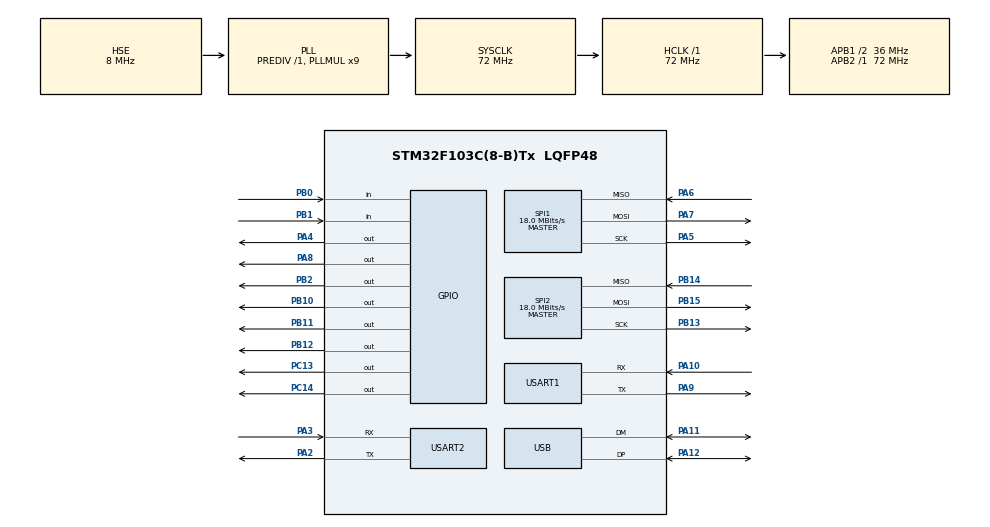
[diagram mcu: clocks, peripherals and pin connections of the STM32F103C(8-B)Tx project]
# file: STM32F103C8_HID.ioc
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Dma.MEMTOMEM.0.Direction=DMA_MEMORY_TO_MEMORY
Dma.MEMTOMEM.0.Instance=DMA1_Channel1
Dma.MEMTOMEM.0.MemDataAlignment=DMA_MDATAALIGN_BYTE
Dma.MEMTOMEM.0.MemInc=DMA_MINC_ENABLE
Dma.MEMTOMEM.0.Mode=DMA_NORMAL
Dma.MEMTOMEM.0.PeriphDataAlignment=DMA_PDATAALIGN_BYTE
Dma.MEMTOMEM.0.PeriphInc=DMA_PINC_ENABLE
Dma.MEMTOMEM.0.Priority=DMA_PRIORITY_LOW
Dma.Request0=MEMTOMEM
Dma.Request1=SPI1_TX
Dma.Request2=SPI1_RX
Dma.Request3=USART2_RX
Dma.Request4=USART2_TX
Dma.Request5=USART1_TX
Dma.Request6=USART1_RX
Dma.SPI1_RX.2.Direction=DMA_PERIPH_TO_MEMORY
Dma.SPI1_RX.2.Instance=DMA1_Channel2
Dma.SPI1_RX.2.MemDataAlignment=DMA_MDATAALIGN_BYTE
Dma.SPI1_RX.2.MemInc=DMA_MINC_ENABLE
Dma.SPI1_RX.2.Mode=DMA_NORMAL
Dma.SPI1_RX.2.PeriphDataAlignment=DMA_PDATAALIGN_BYTE
Dma.SPI1_RX.2.PeriphInc=DMA_PINC_DISABLE
Dma.SPI1_RX.2.Priority=DMA_PRIORITY_LOW
Dma.SPI1_TX.1.Direction=DMA_MEMORY_TO_PERIPH
Dma.SPI1_TX.1.Instance=DMA1_Channel3
Dma.SPI1_TX.1.MemDataAlignment=DMA_MDATAALIGN_BYTE
Dma.SPI1_TX.1.MemInc=DMA_MINC_ENABLE
Dma.SPI1_TX.1.Mode=DMA_NORMAL
Dma.SPI1_TX.1.PeriphDataAlignment=DMA_PDATAALIGN_BYTE
Dma.SPI1_TX.1.PeriphInc=DMA_PINC_DISABLE
Dma.SPI1_TX.1.Priority=DMA_PRIORITY_LOW
Dma.USART1_RX.6.Direction=DMA_PERIPH_TO_MEMORY
Dma.USART1_RX.6.Instance=DMA1_Channel5
Dma.USART1_RX.6.MemDataAlignment=DMA_MDATAALIGN_BYTE
Dma.USART1_RX.6.MemInc=DMA_MINC_ENABLE
Dma.USART1_RX.6.Mode=DMA_CIRCULAR
Dma.USART1_RX.6.PeriphDataAlignment=DMA_PDATAALIGN_BYTE
Dma.USART1_RX.6.PeriphInc=DMA_PINC_DISABLE
Dma.USART1_RX.6.Priority=DMA_PRIORITY_LOW
Dma.USART1_TX.5.Direction=DMA_MEMORY_TO_PERIPH
Dma.USART1_TX.5.Instance=DMA1_Channel4
Dma.USART1_TX.5.MemDataAlignment=DMA_MDATAALIGN_BYTE
Dma.USART1_TX.5.MemInc=DMA_MINC_ENABLE
Dma.USART1_TX.5.Mode=DMA_CIRCULAR
Dma.USART1_TX.5.PeriphDataAlignment=DMA_PDATAALIGN_BYTE
Dma.USART1_TX.5.PeriphInc=DMA_PINC_DISABLE
Dma.USART1_TX.5.Priority=DMA_PRIORITY_LOW
Dma.USART2_RX.3.Direction=DMA_PERIPH_TO_MEMORY
Dma.USART2_RX.3.Instance=DMA1_Channel6
Dma.USART2_RX.3.MemDataAlignment=DMA_MDATAALIGN_BYTE
Dma.USART2_RX.3.MemInc=DMA_MINC_ENABLE
Dma.USART2_RX.3.Mode=DMA_NORMAL
Dma.USART2_RX.3.PeriphDataAlignment=DMA_PDATAALIGN_BYTE
Dma.USART2_RX.3.PeriphInc=DMA_PINC_DISABLE
Dma.USART2_RX.3.Priority=DMA_PRIORITY_LOW
Dma.USART2_TX.4.Direction=DMA_MEMORY_TO_PERIPH
Dma.USART2_TX.4.Instance=DMA1_Channel7
Dma.USART2_TX.4.MemDataAlignment=DMA_MDATAALIGN_BYTE
Dma.USART2_TX.4.MemInc=DMA_MINC_ENABLE
Dma.USART2_TX.4.Mode=DMA_NORMAL
Dma.USART2_TX.4.PeriphDataAlignment=DMA_PDATAALIGN_BYTE
Dma.USART2_TX.4.PeriphInc=DMA_PINC_DISABLE
Dma.USART2_TX.4.Priority=DMA_PRIORITY_LOW
Mcu.Family=STM32F1
Mcu.Name=STM32F103C(8-B)Tx
Mcu.Package=LQFP48
NVIC.DMA1_Channel2_IRQn=true\:0\:0\:false\:false\:true\:false\:true
NVIC.DMA1_Channel3_IRQn=true\:0\:0\:false\:false\:true\:false\:true
NVIC.DMA1_Channel4_IRQn=true\:0\:0\:false\:false\:true\:false\:true
NVIC.DMA1_Channel5_IRQn=true\:0\:0\:false\:false\:true\:false\:true
NVIC.DMA1_Channel6_IRQn=true\:0\:0\:false\:false\:true\:false\:true
NVIC.DMA1_Channel7_IRQn=true\:0\:0\:false\:false\:true\:false\:true
NVIC.PriorityGroup=NVIC_PRIORITYGROUP_4
NVIC.USART1_IRQn=true\:0\:0\:false\:false\:true\:true\:true
NVIC.USART2_IRQn=true\:0\:0\:false\:false\:true\:true\:true
NVIC.USB_LP_CAN1_RX0_IRQn=true\:0\:0\:false\:false\:true\:false\:true
PA10.Mode=Asynchronous
PA10.Signal=USART1_RX
PA11.Mode=Device
PA11.Signal=USB_DM
PA12.Mode=Device
PA12.Signal=USB_DP
PA13.Mode=Serial_Wire
PA13.Signal=SYS_JTMS-SWDIO
PA14.Mode=Serial_Wire
PA14.Signal=SYS_JTCK-SWCLK
PA2.Mode=Asynchronous
PA2.Signal=USART2_TX
PA3.Mode=Asynchronous
PA3.Signal=USART2_RX
PA4.Signal=GPIO_Output
PA5.Mode=Full_Duplex_Master
PA5.Signal=SPI1_SCK
PA6.Mode=Full_Duplex_Master
PA6.Signal=SPI1_MISO
PA7.Mode=Full_Duplex_Master
PA7.Signal=SPI1_MOSI
PA8.Signal=GPIO_Output
PA9.Mode=Asynchronous
PA9.Signal=USART1_TX
PB0.Signal=GPIO_Input
PB1.Signal=GPIO_Input
PB10.Signal=GPIO_Output
PB11.Signal=GPIO_Output
PB12.Signal=GPIO_Output
PB13.Mode=Full_Duplex_Master
PB13.Signal=SPI2_SCK
PB14.Mode=Full_Duplex_Master
PB14.Signal=SPI2_MISO
PB15.Mode=Full_Duplex_Master
PB15.Signal=SPI2_MOSI
PB2.Signal=GPIO_Output
PC13-TAMPER-RTC.Signal=GPIO_Output
PC14-OSC32_IN.Signal=GPIO_Output
PD0-OSC_IN.Mode=HSE-External-Oscillator
PD0-OSC_IN.Signal=RCC_OSC_IN
PD1-OSC_OUT.Mode=HSE-External-Oscillator
PD1-OSC_OUT.Signal=RCC_OSC_OUT
ProjectManager.HeapSize=0x800
ProjectManager.StackSize=0x800
ProjectManager.TargetToolchain=MDK-ARM V5.27
RCC.AHBFreq_Value=72000000
RCC.APB1CLKDivider=RCC_HCLK_DIV2
RCC.APB1Freq_Value=36000000
RCC.APB1TimFreq_Value=72000000
RCC.APB2Freq_Value=72000000
RCC.APB2TimFreq_Value=72000000
RCC.HCLKFreq_Value=72000000
RCC.PLLMUL=RCC_PLL_MUL9
RCC.SYSCLKFreq_VALUE=72000000
RCC.SYSCLKSource=RCC_SYSCLKSOURCE_PLLCLK
RCC.USBFreq_Value=48000000
RCC.USBPrescaler=RCC_USBCLKSOURCE_PLL_DIV1_5
SPI1.BaudRatePrescaler=SPI_BAUDRATEPRESCALER_4
SPI1.CalculateBaudRate=18.0 MBits/s
SPI1.Direction=SPI_DIRECTION_2LINES
SPI1.Mode=SPI_MODE_MASTER
SPI1.VirtualType=VM_MASTER
SPI2.CalculateBaudRate=18.0 MBits/s
SPI2.Direction=SPI_DIRECTION_2LINES
SPI2.Mode=SPI_MODE_MASTER
SPI2.VirtualType=VM_MASTER
USART1.VirtualMode=VM_ASYNC
USART2.VirtualMode=VM_ASYNC
USB_DEVICE.CLASS_NAME_FS=CUSTOM_HID
USB_DEVICE.CUSTOM_HID_FS_BINTERVAL=0x1
USB_DEVICE.PID_CUSTOMHID_FS=0x0409
USB_DEVICE.PRODUCT_STRING_CUSTOMHID_FS=KS 996 Wireless CMSIS-DAP
USB_DEVICE.USBD_CUSTOMHID_OUTREPORT_BUF_SIZE=64
USB_DEVICE.USBD_CUSTOM_HID_REPORT_DESC_SIZE=33
USB_DEVICE.USBD_DEBUG_LEVEL=0
USB_DEVICE.USBD_MAX_NUM_INTERFACES=3
USB_DEVICE.VID=0x0483
USB_DEVICE.VirtualMode=CustomHid
USB_DEVICE.VirtualModeFS=Custom_Hid_FS
VP_FATFS_VS_Generic.Mode=User_defined
VP_IWDG_VS_IWDG.Mode=IWDG_Activate
VP_USB_DEVICE_VS_USB_DEVICE_CUSTOM_HID_FS.Mode=CUSTOM_HID_FS
board=custom

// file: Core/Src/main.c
/* USER CODE BEGIN Header */
/**
  ******************************************************************************
  * @file           : main.c
  * @brief          : Main program body
  ******************************************************************************
  * @attention
  *
  * <h2><center>&copy; Copyright (c) 2020 STMicroelectronics.
  * All rights reserved.</center></h2>
  *
  * This software component is licensed by ST under Ultimate Liberty license
  * SLA0044, the "License"; You may not use this file except in compliance with
  * the License. You may obtain a copy of the License at:
  *                             www.st.com/SLA0044
  *
  ******************************************************************************
  */
/* USER CODE END Header */

#include "main.h"
#include "dma.h"
#include "fatfs.h"
#include "iwdg.h"
#include "spi.h"
#include "usart.h"
#include "usb_device.h"
#include "gpio.h"

/* USER CODE BEGIN Includes */
#include "DAP_Common.h"
#include "DAP_config.h"
#include "hid_transfer.h"
#include "DAP.h"
#include "teeny_usb.h"
#include "tusbd_user.h"
#include "tusbd_hid.h"
#include "tusbd_cdc.h"
#include "tusbd_msc.h"
#include "tusbd_cdc_rndis.h"
#include "board_config.h"
/* USER CODE END Includes */

void SystemClock_Config(void);

/* USER CODE BEGIN 0 */

#define USER_RX_EP_SIZE 32
#define CDC_RX_EP_SIZE 32
#define HID_RX_EP_SIZE 64
#define HID_REPORT_DESC COMP_ReportDescriptor_if0
#define HID_REPORT_DESC_SIZE COMP_REPORT_DESCRIPTOR_SIZE_IF0

// allocate more buffer for better performance
__ALIGN_BEGIN uint8_t user_buf[USER_RX_EP_SIZE * 4] __ALIGN_END;

int user_recv_data(tusb_user_device_t *raw, const void *data, uint16_t len);
int user_send_done(tusb_user_device_t *raw);

tusb_user_device_t user_dev = {
    .backend = &user_device_backend,
    .ep_in = 3,
    .ep_out = 3,
    .on_recv_data = user_recv_data,
    .on_send_done = user_send_done,
    .rx_buf = user_buf,
    .rx_size = sizeof(user_buf),
};

// The HID recv buffer size must equal to the out report size
__ALIGN_BEGIN uint8_t hid_buf[HID_RX_EP_SIZE] __ALIGN_END;
int hid_recv_data(tusb_hid_device_t *hid, const void *data, uint16_t len);
int hid_send_done(tusb_hid_device_t *hid);

tusb_hid_device_t hid_dev = {
    .backend = &hid_device_backend,
    .ep_in = 2,
    .ep_out = 2,
    .on_recv_data = hid_recv_data,
    .on_send_done = hid_send_done,
    .rx_buf = hid_buf,
    .rx_size = sizeof(hid_buf),
    .report_desc = HID_REPORT_DESC,
    .report_desc_size = HID_REPORT_DESC_SIZE,
};

// The CDC recv buffer size should equal to the out endpoint size
// or we will need a timeout to flush the recv buffer
uint8_t cdc_buf[CDC_RX_EP_SIZE];

int cdc_recv_data(tusb_cdc_device_t *cdc, const void *data, uint16_t len);
int cdc_send_done(tusb_cdc_device_t *cdc);
void cdc_line_coding_change(tusb_cdc_device_t *cdc);

tusb_cdc_device_t cdc_dev = {
    .backend = &cdc_device_backend,
    .ep_in = 1,
    .ep_out = 1,
    .ep_int = 8,
    .on_recv_data = cdc_recv_data,
    .on_send_done = cdc_send_done,
    .on_line_coding_change = cdc_line_coding_change,
    .rx_buf = cdc_buf,
    .rx_size = sizeof(cdc_buf),
};

int msc_get_cap(tusb_msc_device_t *msc, uint8_t lun, uint32_t *block_num, uint32_t *block_size);
int msc_block_read(tusb_msc_device_t *msc, uint8_t lun, uint8_t *buf, uint32_t block_addr, uint16_t block_len);
int msc_block_write(tusb_msc_device_t *msc, uint8_t lun, const uint8_t *buf, uint32_t block_addr, uint16_t block_len);

tusb_msc_device_t msc_dev = {
    .backend = &msc_device_backend,
    .ep_in = 4,
    .ep_out = 4,
    .max_lun = 0, // 1 logic unit
    .get_cap = msc_get_cap,
    .block_read = msc_block_read,
    .block_write = msc_block_write,
};

// make sure the interface order is same in "composite_desc.lua"
static tusb_device_interface_t *device_interfaces[] = {
    (tusb_device_interface_t *)&hid_dev,
    (tusb_device_interface_t *)&cdc_dev,
    0, // CDC need two interfaces
       //  (tusb_device_interface_t*)&user_dev,
    (tusb_device_interface_t *)&msc_dev,
};

static void init_ep(tusb_device_t *dev)
{
  COMP_TUSB_INIT(dev);
}

tusb_device_config_t device_config = {
    .if_count = sizeof(device_interfaces) / sizeof(device_interfaces[0]),
    .interfaces = &device_interfaces[0],
    .ep_init = init_ep,
};

void tusb_delay_ms(uint32_t ms)
{
  uint32_t i, j;
  for (i = 0; i < ms; ++i)
    for (j = 0; j < 200; ++j)
      ;
}

//static int user_len = 0;
int user_recv_data(tusb_user_device_t *raw, const void *data, uint16_t len)
{
// user_len = (int)len;
  return 1; // return 1 means the recv buffer is busy
}

int user_send_done(tusb_user_device_t *raw)
{
  tusb_set_rx_valid(raw->dev, raw->ep_out);
  return 0;
}

static int hid_len = 0;
int hid_recv_data(tusb_hid_device_t *hid, const void *data, uint16_t len)
{
  hid_len = (int)len;
  HID_GetOutReport(hid_buf, len);
  return 1; // return 1 means the recv buffer is busy
}

int hid_send_done(tusb_hid_device_t *hid)
{
  tusb_set_rx_valid(hid->dev, hid->ep_out);
  HID_SetInReport();
  return 0;
}

static int cdc_len = 0;
int cdc_recv_data(tusb_cdc_device_t *cdc, const void *data, uint16_t len)
{
  cdc_len = (int)len;
  return 1; // return 1 means the recv buffer is busy
}

int cdc_send_done(tusb_cdc_device_t *cdc)
{
  tusb_set_rx_valid(cdc->dev, cdc->ep_out);
  return 0;
}

void cdc_line_coding_change(tusb_cdc_device_t *cdc)
{
  // TODO, handle the line coding change
  //cdc->line_coding.bitrate;
  //cdc->line_coding.databits;
  //cdc->line_coding.stopbits;
  //cdc->line_coding.parity;
}

/* USER CODE END 0 */

int main(void)
{

  /* MCU Configuration--------------------------------------------------------*/

  /* Reset of all peripherals, Initializes the Flash interface and the Systick. */
  HAL_Init();

  /* Configure the system clock */
  SystemClock_Config();

  /* Initialize all configured peripherals */
  MX_GPIO_Init();
  MX_DMA_Init();
  MX_SPI1_Init();
  MX_USART2_UART_Init();
  MX_USB_DEVICE_Init();
  MX_SPI2_Init();
  MX_IWDG_Init();
  MX_FATFS_Init();
  MX_USART1_UART_Init();
  /* USER CODE BEGIN 2 */
	tusb_device_t *dev = tusb_get_device(TEST_APP_USB_CORE);
	tusb_set_device_config(dev, &device_config);
	tusb_open_device(dev);
  /* USER CODE END 2 */

  /* Infinite loop */
  while (1)
  {

    /* USER CODE BEGIN 3 */
		if (hid_len)
		{
		  usbd_hid_process();
		}
		//    if(user_len){
		//      for(int i=0;i<user_len;i++){
		// //       user_buf[i]+=1;
		//      }
		//      tusb_user_device_send(&user_dev, user_buf, user_len);
		//      user_len = 0;
		//    }

		if (cdc_len)
		{
		  tusb_cdc_device_send(&cdc_dev, cdc_buf, cdc_len);
		  cdc_len = 0;
		}

		tusb_msc_device_loop(&msc_dev);
	}
  /* USER CODE END 3 */
}

void SystemClock_Config(void)
{
  RCC_OscInitTypeDef RCC_OscInitStruct = {0};
  RCC_ClkInitTypeDef RCC_ClkInitStruct = {0};
  RCC_PeriphCLKInitTypeDef PeriphClkInit = {0};

  /** Initializes the CPU, AHB and APB busses clocks
  */
  RCC_OscInitStruct.OscillatorType = RCC_OSCILLATORTYPE_LSI|RCC_OSCILLATORTYPE_HSE;
  RCC_OscInitStruct.HSEState = RCC_HSE_ON;
  RCC_OscInitStruct.HSEPredivValue = RCC_HSE_PREDIV_DIV1;
  RCC_OscInitStruct.HSIState = RCC_HSI_ON;
  RCC_OscInitStruct.LSIState = RCC_LSI_ON;
  RCC_OscInitStruct.PLL.PLLState = RCC_PLL_ON;
  RCC_OscInitStruct.PLL.PLLSource = RCC_PLLSOURCE_HSE;
  RCC_OscInitStruct.PLL.PLLMUL = RCC_PLL_MUL9;
  if (HAL_RCC_OscConfig(&RCC_OscInitStruct) != HAL_OK)
  {
    Error_Handler();
  }
  /** Initializes the CPU, AHB and APB busses clocks
  */
  RCC_ClkInitStruct.ClockType = RCC_CLOCKTYPE_HCLK|RCC_CLOCKTYPE_SYSCLK
                              |RCC_CLOCKTYPE_PCLK1|RCC_CLOCKTYPE_PCLK2;
  RCC_ClkInitStruct.SYSCLKSource = RCC_SYSCLKSOURCE_PLLCLK;
  RCC_ClkInitStruct.AHBCLKDivider = RCC_SYSCLK_DIV1;
  RCC_ClkInitStruct.APB1CLKDivider = RCC_HCLK_DIV2;
  RCC_ClkInitStruct.APB2CLKDivider = RCC_HCLK_DIV1;

  if (HAL_RCC_ClockConfig(&RCC_ClkInitStruct, FLASH_LATENCY_2) != HAL_OK)
  {
    Error_Handler();
  }
  PeriphClkInit.PeriphClockSelection = RCC_PERIPHCLK_USB;
  PeriphClkInit.UsbClockSelection = RCC_USBCLKSOURCE_PLL_DIV1_5;
  if (HAL_RCCEx_PeriphCLKConfig(&PeriphClkInit) != HAL_OK)
  {
    Error_Handler();
  }
}

void Error_Handler(void)
{
}

/************************ (C) COPYRIGHT STMicroelectronics *****END OF FILE****/
